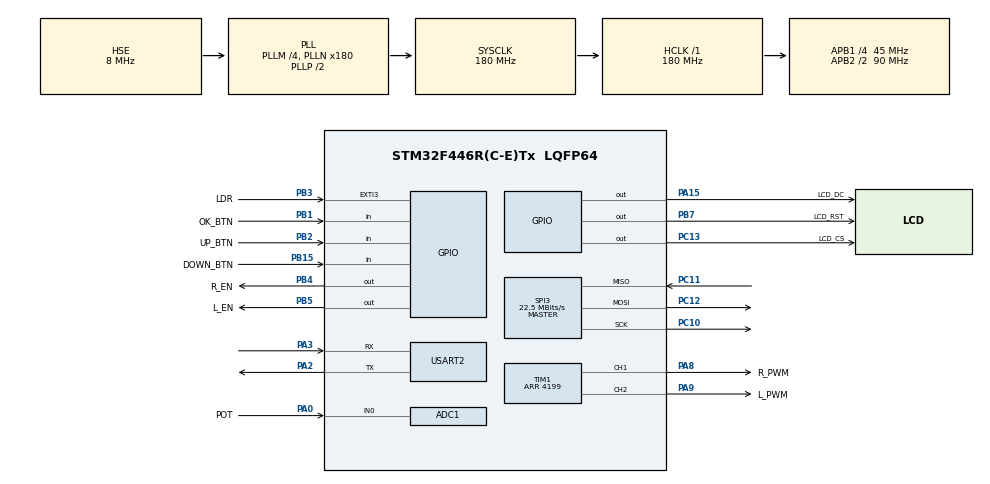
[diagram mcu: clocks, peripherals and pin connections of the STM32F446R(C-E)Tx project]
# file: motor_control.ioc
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ADC1.Channel-0\#ChannelRegularConversion=ADC_CHANNEL_0
ADC1.ContinuousConvMode=ENABLE
ADC1.NbrOfConversionFlag=1
ADC1.Rank-0\#ChannelRegularConversion=1
ADC1.SamplingTime-0\#ChannelRegularConversion=ADC_SAMPLETIME_3CYCLES
ADC1.master=1
Mcu.Family=STM32F4
Mcu.Name=STM32F446R(C-E)Tx
Mcu.Package=LQFP64
NVIC.EXTI3_IRQn=true\:0\:0\:false\:false\:true\:true\:true\:true
NVIC.PriorityGroup=NVIC_PRIORITYGROUP_4
NVIC.TIM7_IRQn=true\:0\:0\:true\:false\:true\:false\:true\:true
NVIC.TimeBase=TIM7_IRQn
NVIC.TimeBaseIP=TIM7
NVIC.USART2_IRQn=true\:0\:0\:false\:false\:true\:true\:true\:true
PA0-WKUP.GPIO_Label=POT
PA0-WKUP.Signal=ADCx_IN0
PA13.Mode=Serial_Wire
PA13.Signal=SYS_JTMS-SWDIO
PA14.Mode=Serial_Wire
PA14.Signal=SYS_JTCK-SWCLK
PA15.GPIO_Label=LCD_DC
PA15.Signal=GPIO_Output
PA2.Mode=Asynchronous
PA2.Signal=USART2_TX
PA3.Mode=Asynchronous
PA3.Signal=USART2_RX
PA8.GPIO_Label=R_PWM
PA8.Signal=S_TIM1_CH1
PA9.GPIO_Label=L_PWM
PA9.Signal=S_TIM1_CH2
PB1.GPIO_Label=OK_BTN
PB1.GPIO_PuPd=GPIO_PULLUP
PB1.Signal=GPIO_Input
PB15.GPIO_Label=DOWN_BTN
PB15.GPIO_PuPd=GPIO_PULLUP
PB15.Signal=GPIO_Input
PB2.GPIO_Label=UP_BTN
PB2.GPIO_PuPd=GPIO_PULLUP
PB2.Signal=GPIO_Input
PB3.GPIO_Label=LDR
PB3.GPIO_ModeDefaultEXTI=GPIO_MODE_IT_FALLING
PB3.GPIO_PuPd=GPIO_PULLUP
PB3.Signal=GPXTI3
PB4.GPIO_Label=R_EN
PB4.Signal=GPIO_Output
PB5.GPIO_Label=L_EN
PB5.Signal=GPIO_Output
PB7.GPIO_Label=LCD_RST
PB7.Signal=GPIO_Output
PC10.Mode=Full_Duplex_Master
PC10.Signal=SPI3_SCK
PC11.Mode=Full_Duplex_Master
PC11.Signal=SPI3_MISO
PC12.Mode=Full_Duplex_Master
PC12.Signal=SPI3_MOSI
PC13.GPIO_Label=LCD_CS
PC13.Signal=GPIO_Output
PH0-OSC_IN.Mode=HSE-External-Oscillator
PH0-OSC_IN.Signal=RCC_OSC_IN
PH1-OSC_OUT.Mode=HSE-External-Oscillator
PH1-OSC_OUT.Signal=RCC_OSC_OUT
ProjectManager.HeapSize=0x200
ProjectManager.StackSize=0x400
ProjectManager.TargetToolchain=CMake
RCC.AHBFreq_Value=180000000
RCC.APB1CLKDivider=RCC_HCLK_DIV4
RCC.APB1Freq_Value=45000000
RCC.APB1TimFreq_Value=90000000
RCC.APB2CLKDivider=RCC_HCLK_DIV2
RCC.APB2Freq_Value=90000000
RCC.APB2TimFreq_Value=180000000
RCC.CortexFreq_Value=180000000
RCC.HCLKFreq_Value=180000000
RCC.HSE_VALUE=8000000
RCC.PLLM=4
RCC.PLLN=180
RCC.PLLSourceVirtual=RCC_PLLSOURCE_HSE
RCC.SYSCLKFreq_VALUE=180000000
RCC.SYSCLKSource=RCC_SYSCLKSOURCE_PLLCLK
RCC.USBFreq_Value=180000000
RCC.VCOOutputFreq_Value=360000000
SH.ADCx_IN0.0=ADC1_IN0,IN0
SH.S_TIM1_CH1.0=TIM1_CH1,PWM Generation1 CH1
SH.S_TIM1_CH2.0=TIM1_CH2,PWM Generation2 CH2
SPI3.CalculateBaudRate=22.5 MBits/s
SPI3.Direction=SPI_DIRECTION_2LINES
SPI3.Mode=SPI_MODE_MASTER
SPI3.VirtualType=VM_MASTER
TIM1.Channel-PWM\ Generation1\ CH1=TIM_CHANNEL_1
TIM1.Channel-PWM\ Generation2\ CH2=TIM_CHANNEL_2
TIM1.Period=4199
USART2.VirtualMode=VM_ASYNC
VP_SYS_VS_tim7.Mode=TIM7
VP_TIM1_VS_ClockSourceINT.Mode=Internal
board=custom

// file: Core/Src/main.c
/* USER CODE BEGIN Header */
/**
 ******************************************************************************
 * @file           : main.c
 * @brief          : Main program body
 ******************************************************************************
 * @attention
 *
 * Copyright (c) 2026 STMicroelectronics.
 * All rights reserved.
 *
 * This software is licensed under terms that can be found in the LICENSE file
 * in the root directory of this software component.
 * If no LICENSE file comes with this software, it is provided AS-IS.
 *
 ******************************************************************************
 */
/* USER CODE END Header */
#include "main.h"

/* USER CODE BEGIN Includes */
#include "FreeRTOS.h"
#include "printk.h"
#include "task.h"
#include "ili9488.h"
#include "ui.h"
#include "btn.h"
#include "my_tasks.h"
#include <string.h>
/* USER CODE END Includes */

ADC_HandleTypeDef hadc1;

SPI_HandleTypeDef hspi3;

TIM_HandleTypeDef htim1;

UART_HandleTypeDef huart2;

/* USER CODE BEGIN PV */
TaskHandle_t xCameraTaskHandle = NULL;
/* USER CODE END PV */

void SystemClock_Config(void);
static void MX_GPIO_Init(void);
static void MX_USART2_UART_Init(void);
static void MX_SPI3_Init(void);
static void MX_ADC1_Init(void);
static void MX_TIM1_Init(void);
/* USER CODE BEGIN PFP */
void PWM_Set_Duty(TIM_HandleTypeDef *htim, uint32_t Channel, uint8_t dutyPercent);
/* USER CODE END PFP */

/* USER CODE BEGIN 0 */

void TestTaskPWM(void *arguments)
{
  uint8_t duty = 0;
  int8_t step = 1; // +1 going up, -1 going down

  while (1)
  {
    PWM_Set_Duty(&htim1, TIM_CHANNEL_1, duty);

    duty += step;

    if (duty >= 100)
    {
      duty = 100;
      step = -1; // start decreasing
    }
    else if (duty == 0)
    {
      step = 1; // start increasing
    }

    HAL_Delay(10); // Smaller delay = smoother fade
  }
}

void CameraTask(void *arguments)
{
  const char *captureCommand = "C\r\n";
  static TickType_t lastCaptureTime = 0;
  const TickType_t debounceDelay = pdMS_TO_TICKS(250);  // 150ms debounce

  while (1)
  {
    // Wait indefinitely for notification from ISR
    ulTaskNotifyTake(pdTRUE, portMAX_DELAY);

    TickType_t currentTime = xTaskGetTickCount();

    // Debounce: check if enough time has passed since last capture
    if ((currentTime - lastCaptureTime) < debounceDelay)
    {
      printk("Camera trigger ignored (debounce)\n");
      continue;  // Ignore this trigger
    }

    lastCaptureTime = currentTime;

    // Send capture command to PC via UART
    __HAL_UART_DISABLE_IT(&huart2, UART_IT_RXNE);
    HAL_StatusTypeDef status = HAL_UART_Transmit(&huart2, (uint8_t *)captureCommand, strlen(captureCommand), 100);
    __HAL_UART_ENABLE_IT(&huart2, UART_IT_RXNE);

    if (status == HAL_OK)
    {
      printk("Camera capture command sent\n");
    }
    else
    {
      printk("Camera capture command FAILED: %d\n", status);
    }
  }
}

/* USER CODE END 0 */

int main(void)
{

  /* MCU Configuration--------------------------------------------------------*/

  /* Reset of all peripherals, Initializes the Flash interface and the Systick. */
  HAL_Init();

  /* Configure the system clock */
  SystemClock_Config();

  /* USER CODE BEGIN SysInit */
  printk_init();

  /* USER CODE END SysInit */

  /* Initialize all configured peripherals */
  MX_GPIO_Init();
  MX_USART2_UART_Init();
  MX_SPI3_Init();
  MX_ADC1_Init();
  MX_TIM1_Init();
  /* USER CODE BEGIN 2 */
  HAL_TIM_PWM_Start(&htim1, TIM_CHANNEL_1);
  HAL_TIM_PWM_Start(&htim1, TIM_CHANNEL_2);

  HAL_GPIO_WritePin(L_EN_GPIO_Port, L_EN_Pin, GPIO_PIN_SET); // enable driver
  HAL_GPIO_WritePin(R_EN_GPIO_Port, R_EN_Pin, GPIO_PIN_SET); // enable driver

  __HAL_TIM_SET_COMPARE(&htim1, TIM_CHANNEL_1, 0); // forward ~50%
  __HAL_TIM_SET_COMPARE(&htim1, TIM_CHANNEL_2, 0); // reverse off

  ILI9488_Init();
  setRotation(2);
  fillScreen(ILI9488_BLACK);

  xTaskCreate(UITask, "Ui Task", 1024 * 10, NULL, configMAX_PRIORITIES - 1, NULL);
  xTaskCreate(CameraTask, "Camera Task", 1024, NULL, configMAX_PRIORITIES - 1, &xCameraTaskHandle);
  xTaskCreate(xLDRReadTask, "UART RX Task", 1024, NULL, configMAX_PRIORITIES - 2, NULL);
  // xTaskCreate(TestTaskPWM, "Test Task", 1024, NULL, configMAX_PRIORITIES - 1, NULL);

  vTaskStartScheduler();

  /* USER CODE END 2 */

  /* Infinite loop */
  while (1)
  {

  }
}

void SystemClock_Config(void)
{
  RCC_OscInitTypeDef RCC_OscInitStruct = {0};
  RCC_ClkInitTypeDef RCC_ClkInitStruct = {0};

  /** Configure the main internal regulator output voltage
  */
  __HAL_RCC_PWR_CLK_ENABLE();
  __HAL_PWR_VOLTAGESCALING_CONFIG(PWR_REGULATOR_VOLTAGE_SCALE1);

  /** Initializes the RCC Oscillators according to the specified parameters
  * in the RCC_OscInitTypeDef structure.
  */
  RCC_OscInitStruct.OscillatorType = RCC_OSCILLATORTYPE_HSE;
  RCC_OscInitStruct.HSEState = RCC_HSE_ON;
  RCC_OscInitStruct.PLL.PLLState = RCC_PLL_ON;
  RCC_OscInitStruct.PLL.PLLSource = RCC_PLLSOURCE_HSE;
  RCC_OscInitStruct.PLL.PLLM = 4;
  RCC_OscInitStruct.PLL.PLLN = 180;
  RCC_OscInitStruct.PLL.PLLP = RCC_PLLP_DIV2;
  RCC_OscInitStruct.PLL.PLLQ = 2;
  RCC_OscInitStruct.PLL.PLLR = 2;
  if (HAL_RCC_OscConfig(&RCC_OscInitStruct) != HAL_OK)
  {
    Error_Handler();
  }

  /** Activate the Over-Drive mode
  */
  if (HAL_PWREx_EnableOverDrive() != HAL_OK)
  {
    Error_Handler();
  }

  /** Initializes the CPU, AHB and APB buses clocks
  */
  RCC_ClkInitStruct.ClockType = RCC_CLOCKTYPE_HCLK|RCC_CLOCKTYPE_SYSCLK
                              |RCC_CLOCKTYPE_PCLK1|RCC_CLOCKTYPE_PCLK2;
  RCC_ClkInitStruct.SYSCLKSource = RCC_SYSCLKSOURCE_PLLCLK;
  RCC_ClkInitStruct.AHBCLKDivider = RCC_SYSCLK_DIV1;
  RCC_ClkInitStruct.APB1CLKDivider = RCC_HCLK_DIV4;
  RCC_ClkInitStruct.APB2CLKDivider = RCC_HCLK_DIV2;

  if (HAL_RCC_ClockConfig(&RCC_ClkInitStruct, FLASH_LATENCY_5) != HAL_OK)
  {
    Error_Handler();
  }
}

static void MX_ADC1_Init(void)
{

  ADC_ChannelConfTypeDef sConfig = {0};

  /** Configure the global features of the ADC (Clock, Resolution, Data Alignment and number of conversion)
  */
  hadc1.Instance = ADC1;
  hadc1.Init.ClockPrescaler = ADC_CLOCK_SYNC_PCLK_DIV4;
  hadc1.Init.Resolution = ADC_RESOLUTION_12B;
  hadc1.Init.ScanConvMode = DISABLE;
  hadc1.Init.ContinuousConvMode = ENABLE;
  hadc1.Init.DiscontinuousConvMode = DISABLE;
  hadc1.Init.ExternalTrigConvEdge = ADC_EXTERNALTRIGCONVEDGE_NONE;
  hadc1.Init.ExternalTrigConv = ADC_SOFTWARE_START;
  hadc1.Init.DataAlign = ADC_DATAALIGN_RIGHT;
  hadc1.Init.NbrOfConversion = 1;
  hadc1.Init.DMAContinuousRequests = DISABLE;
  hadc1.Init.EOCSelection = ADC_EOC_SINGLE_CONV;
  if (HAL_ADC_Init(&hadc1) != HAL_OK)
  {
    Error_Handler();
  }

  /** Configure for the selected ADC regular channel its corresponding rank in the sequencer and its sample time.
  */
  sConfig.Channel = ADC_CHANNEL_0;
  sConfig.Rank = 1;
  sConfig.SamplingTime = ADC_SAMPLETIME_3CYCLES;
  if (HAL_ADC_ConfigChannel(&hadc1, &sConfig) != HAL_OK)
  {
    Error_Handler();
  }

}

static void MX_SPI3_Init(void)
{

  /* SPI3 parameter configuration*/
  hspi3.Instance = SPI3;
  hspi3.Init.Mode = SPI_MODE_MASTER;
  hspi3.Init.Direction = SPI_DIRECTION_2LINES;
  hspi3.Init.DataSize = SPI_DATASIZE_8BIT;
  hspi3.Init.CLKPolarity = SPI_POLARITY_LOW;
  hspi3.Init.CLKPhase = SPI_PHASE_1EDGE;
  hspi3.Init.NSS = SPI_NSS_SOFT;
  hspi3.Init.BaudRatePrescaler = SPI_BAUDRATEPRESCALER_2;
  hspi3.Init.FirstBit = SPI_FIRSTBIT_MSB;
  hspi3.Init.TIMode = SPI_TIMODE_DISABLE;
  hspi3.Init.CRCCalculation = SPI_CRCCALCULATION_DISABLE;
  hspi3.Init.CRCPolynomial = 10;
  if (HAL_SPI_Init(&hspi3) != HAL_OK)
  {
    Error_Handler();
  }

}

static void MX_TIM1_Init(void)
{

  TIM_ClockConfigTypeDef sClockSourceConfig = {0};
  TIM_MasterConfigTypeDef sMasterConfig = {0};
  TIM_OC_InitTypeDef sConfigOC = {0};
  TIM_BreakDeadTimeConfigTypeDef sBreakDeadTimeConfig = {0};

  htim1.Instance = TIM1;
  htim1.Init.Prescaler = 0;
  htim1.Init.CounterMode = TIM_COUNTERMODE_UP;
  htim1.Init.Period = 4199;
  htim1.Init.ClockDivision = TIM_CLOCKDIVISION_DIV1;
  htim1.Init.RepetitionCounter = 0;
  htim1.Init.AutoReloadPreload = TIM_AUTORELOAD_PRELOAD_DISABLE;
  if (HAL_TIM_Base_Init(&htim1) != HAL_OK)
  {
    Error_Handler();
  }
  sClockSourceConfig.ClockSource = TIM_CLOCKSOURCE_INTERNAL;
  if (HAL_TIM_ConfigClockSource(&htim1, &sClockSourceConfig) != HAL_OK)
  {
    Error_Handler();
  }
  if (HAL_TIM_PWM_Init(&htim1) != HAL_OK)
  {
    Error_Handler();
  }
  sMasterConfig.MasterOutputTrigger = TIM_TRGO_RESET;
  sMasterConfig.MasterSlaveMode = TIM_MASTERSLAVEMODE_DISABLE;
  if (HAL_TIMEx_MasterConfigSynchronization(&htim1, &sMasterConfig) != HAL_OK)
  {
    Error_Handler();
  }
  sConfigOC.OCMode = TIM_OCMODE_PWM1;
  sConfigOC.Pulse = 0;
  sConfigOC.OCPolarity = TIM_OCPOLARITY_HIGH;
  sConfigOC.OCNPolarity = TIM_OCNPOLARITY_HIGH;
  sConfigOC.OCFastMode = TIM_OCFAST_DISABLE;
  sConfigOC.OCIdleState = TIM_OCIDLESTATE_RESET;
  sConfigOC.OCNIdleState = TIM_OCNIDLESTATE_RESET;
  if (HAL_TIM_PWM_ConfigChannel(&htim1, &sConfigOC, TIM_CHANNEL_1) != HAL_OK)
  {
    Error_Handler();
  }
  if (HAL_TIM_PWM_ConfigChannel(&htim1, &sConfigOC, TIM_CHANNEL_2) != HAL_OK)
  {
    Error_Handler();
  }
  sBreakDeadTimeConfig.OffStateRunMode = TIM_OSSR_DISABLE;
  sBreakDeadTimeConfig.OffStateIDLEMode = TIM_OSSI_DISABLE;
  sBreakDeadTimeConfig.LockLevel = TIM_LOCKLEVEL_OFF;
  sBreakDeadTimeConfig.DeadTime = 0;
  sBreakDeadTimeConfig.BreakState = TIM_BREAK_DISABLE;
  sBreakDeadTimeConfig.BreakPolarity = TIM_BREAKPOLARITY_HIGH;
  sBreakDeadTimeConfig.AutomaticOutput = TIM_AUTOMATICOUTPUT_DISABLE;
  if (HAL_TIMEx_ConfigBreakDeadTime(&htim1, &sBreakDeadTimeConfig) != HAL_OK)
  {
    Error_Handler();
  }
  HAL_TIM_MspPostInit(&htim1);

}

static void MX_USART2_UART_Init(void)
{

  huart2.Instance = USART2;
  huart2.Init.BaudRate = 115200;
  huart2.Init.WordLength = UART_WORDLENGTH_8B;
  huart2.Init.StopBits = UART_STOPBITS_1;
  huart2.Init.Parity = UART_PARITY_NONE;
  huart2.Init.Mode = UART_MODE_TX_RX;
  huart2.Init.HwFlowCtl = UART_HWCONTROL_NONE;
  huart2.Init.OverSampling = UART_OVERSAMPLING_16;
  if (HAL_UART_Init(&huart2) != HAL_OK)
  {
    Error_Handler();
  }
  /* USER CODE BEGIN USART2_Init 2 */
  /* Enable USART2 interrupt in NVIC */
  HAL_NVIC_SetPriority(USART2_IRQn, 6, 0);
  HAL_NVIC_EnableIRQ(USART2_IRQn);
  /* USER CODE END USART2_Init 2 */

}

static void MX_GPIO_Init(void)
{
  GPIO_InitTypeDef GPIO_InitStruct = {0};

  /* GPIO Ports Clock Enable */
  __HAL_RCC_GPIOC_CLK_ENABLE();
  __HAL_RCC_GPIOH_CLK_ENABLE();
  __HAL_RCC_GPIOA_CLK_ENABLE();
  __HAL_RCC_GPIOB_CLK_ENABLE();

  /*Configure GPIO pin Output Level */
  HAL_GPIO_WritePin(LCD_CS_GPIO_Port, LCD_CS_Pin, GPIO_PIN_RESET);

  /*Configure GPIO pin Output Level */
  HAL_GPIO_WritePin(LCD_DC_GPIO_Port, LCD_DC_Pin, GPIO_PIN_RESET);

  /*Configure GPIO pin Output Level */
  HAL_GPIO_WritePin(GPIOB, R_EN_Pin|L_EN_Pin|LCD_RST_Pin, GPIO_PIN_RESET);

  /*Configure GPIO pin : LCD_CS_Pin */
  GPIO_InitStruct.Pin = LCD_CS_Pin;
  GPIO_InitStruct.Mode = GPIO_MODE_OUTPUT_PP;
  GPIO_InitStruct.Pull = GPIO_NOPULL;
  GPIO_InitStruct.Speed = GPIO_SPEED_FREQ_LOW;
  HAL_GPIO_Init(LCD_CS_GPIO_Port, &GPIO_InitStruct);

  /*Configure GPIO pins : OK_BTN_Pin UP_BTN_Pin DOWN_BTN_Pin */
  GPIO_InitStruct.Pin = OK_BTN_Pin|UP_BTN_Pin|DOWN_BTN_Pin;
  GPIO_InitStruct.Mode = GPIO_MODE_INPUT;
  GPIO_InitStruct.Pull = GPIO_PULLUP;
  HAL_GPIO_Init(GPIOB, &GPIO_InitStruct);

  /*Configure GPIO pin : LCD_DC_Pin */
  GPIO_InitStruct.Pin = LCD_DC_Pin;
  GPIO_InitStruct.Mode = GPIO_MODE_OUTPUT_PP;
  GPIO_InitStruct.Pull = GPIO_NOPULL;
  GPIO_InitStruct.Speed = GPIO_SPEED_FREQ_LOW;
  HAL_GPIO_Init(LCD_DC_GPIO_Port, &GPIO_InitStruct);

  /*Configure GPIO pin : LDR_Pin */
  GPIO_InitStruct.Pin = LDR_Pin;
  GPIO_InitStruct.Mode = GPIO_MODE_IT_FALLING;
  GPIO_InitStruct.Pull = GPIO_PULLUP;
  HAL_GPIO_Init(LDR_GPIO_Port, &GPIO_InitStruct);

  /*Configure GPIO pins : R_EN_Pin L_EN_Pin LCD_RST_Pin */
  GPIO_InitStruct.Pin = R_EN_Pin|L_EN_Pin|LCD_RST_Pin;
  GPIO_InitStruct.Mode = GPIO_MODE_OUTPUT_PP;
  GPIO_InitStruct.Pull = GPIO_NOPULL;
  GPIO_InitStruct.Speed = GPIO_SPEED_FREQ_LOW;
  HAL_GPIO_Init(GPIOB, &GPIO_InitStruct);

  /* EXTI interrupt init*/
  HAL_NVIC_SetPriority(EXTI3_IRQn, 5, 0);
  HAL_NVIC_EnableIRQ(EXTI3_IRQn);

  /* USER CODE BEGIN MX_GPIO_Init_2 */
  GPIO_InitTypeDef InitStruct;
  InitStruct.Pin = GPIO_PIN_5;
  InitStruct.Mode = GPIO_MODE_OUTPUT_PP;
  InitStruct.Speed = GPIO_SPEED_LOW;

  HAL_GPIO_Init(GPIOA, &InitStruct);

  /* USER CODE END MX_GPIO_Init_2 */
}

/* USER CODE BEGIN 4 */
void PWM_Set_Duty(TIM_HandleTypeDef *htim, uint32_t Channel, uint8_t dutyPercent)
{
  if (dutyPercent > 100)
    dutyPercent = 100;

  uint32_t arr = __HAL_TIM_GET_AUTORELOAD(htim);

  // Use ARR+1 for correct full-scale mapping
  uint32_t ccr = ((uint32_t)dutyPercent * (arr + 1)) / 100;

  // Safety clamp
  if (ccr > arr)
    ccr = arr;

  __HAL_TIM_SET_COMPARE(htim, Channel, ccr);
}

/* USER CODE BEGIN 4 */

/**
 * @brief  EXTI line detection callback.
 * @param  GPIO_Pin: Specifies the pins connected to the EXTI line.
 */
void HAL_GPIO_EXTI_Callback(uint16_t GPIO_Pin)
{
  /* 1. Verify the interrupt came from PB3 */
  if (GPIO_Pin == GPIO_PIN_3)
  {
    /* Define a variable to track if a high-priority task needs to run */
    BaseType_t xHigherPriorityTaskWoken = pdFALSE;

    /* 2. Notify the Camera Task
     * vTaskNotifyGiveFromISR is the interrupt-safe version of the notify function.
     * It increments the notification count of the target task.
     */
    if (xCameraTaskHandle != NULL)
    {
      vTaskNotifyGiveFromISR(xCameraTaskHandle, &xHigherPriorityTaskWoken);
    }

    /* 3. Force a Context Switch (Crucial!)
     * If xHigherPriorityTaskWoken was set to pdTRUE inside the notify function,
     * this macro forces the RTOS to switch to the Camera Task immediately
     * after this ISR finishes, rather than waiting for the next tick.
     */
    portYIELD_FROM_ISR(xHigherPriorityTaskWoken);
  }
}

/* USER CODE END 4 */

void HAL_TIM_PeriodElapsedCallback(TIM_HandleTypeDef *htim)
{
  if (htim->Instance == TIM7)
  {
    HAL_IncTick();
  }
}

void Error_Handler(void)
{
  __disable_irq();
  while (1)
  {
  }
}
#ifdef USE_FULL_ASSERT
/**
  * @brief  Reports the name of the source file and the source line number
  *         where the assert_param error has occurred.
  * @param  file: pointer to the source file name
  * @param  line: assert_param error line source number
  * @retval None
  */
void assert_failed(uint8_t *file, uint32_t line)
{
  /* USER CODE BEGIN 6 */
  /* User can add his own implementation to report the file name and line
     number, ex: printf("Wrong parameters value: file %s on line %d\r\n", file,
     line) */
  /* USER CODE END 6 */
}
#endif /* USE_FULL_ASSERT */
